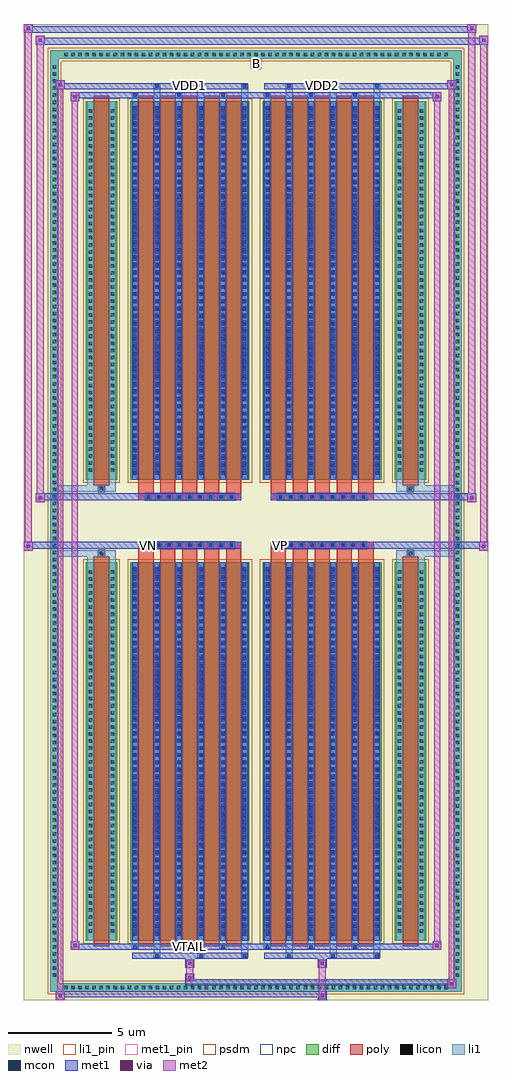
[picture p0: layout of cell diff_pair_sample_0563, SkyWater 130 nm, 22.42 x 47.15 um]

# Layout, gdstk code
import gdstk
lib = gdstk.Library(unit=1e-6, precision=5e-09)
def R(c, l, rs):  # rectangles x0, y0, x1, y1
    for r in rs: c.add(gdstk.rectangle(r[:2], r[2:], *l))
def A(c, l, x, y, w, h, nx, ny, dx, dy):  # array of equal rectangles
    R(c, l, [(x+i*dx, y+j*dy, x+i*dx+w, y+j*dy+h) for i in range(nx) for j in range(ny)])
def P(c, l, *ps):  # polygons
    for p in ps: c.add(gdstk.Polygon(p, *l))
nwell = (64, 20)
diff = (65, 20)
poly = (66, 20)
licon = (66, 44)
li1_pin = (67, 16)
li1 = (67, 20)
mcon = (67, 44)
met1_pin = (68, 16)
met1 = (68, 20)
via = (68, 44)
met2 = (69, 20)
psdm = (94, 20)
npc = (95, 20)

diff_pair_sample_0563 = lib.new_cell('diff_pair_sample_0563')
R(diff_pair_sample_0563, nwell, [(-11.21,-23.14,11.21,24.01), (-8.53,-21.33,-0.01,-0.805), (0.01,-21.33,8.53,-0.805), (-8.53,0.805,-0.01,21.33), (0.01,0.805,8.53,21.33)])
A(diff_pair_sample_0563, diff, -9.385, -22.74, 0.41, 0.41, 55, 2, 0.34, 45.07)
A(diff_pair_sample_0563, diff, -9.94, -22.135, 0.41, 0.41, 1, 130, 0, 0.34)
A(diff_pair_sample_0563, diff, 9.53, -22.135, 0.41, 0.41, 1, 130, 0, 0.34)
R(diff_pair_sample_0563, diff, [(-9.385,-22.74,9.385,-22.33), (-9.94,-22.135,-9.53,22.135), (9.53,-22.135,9.94,22.135), (-8.22,-20.285,-6.71,-1.985), (-6.07,-20.285,-0.32,-1.985), (0.32,-20.285,6.07,-1.985), (6.71,-20.285,8.22,-1.985), (-8.22,1.985,-6.71,20.285), (-6.07,1.985,-0.32,20.285), (0.32,1.985,6.07,20.285), (6.71,1.985,8.22,20.285), (-9.385,22.33,9.385,22.74)])
P(diff_pair_sample_0563, diff, [(9.94,22.74),(-9.94,22.74),(-9.94,-22.33),(-9.53,-22.33),(-9.53,22.33),(9.53,22.33),(9.53,-22.33),(-9.53,-22.33),(-9.94,-22.33),(-9.94,-22.74),(9.94,-22.74)])
A(diff_pair_sample_0563, poly, -5.68, -20.535, 0.73, 18.8, 5, 2, 1.06, 22.27)
A(diff_pair_sample_0563, poly, 0.71, -20.535, 0.73, 18.8, 5, 2, 1.06, 22.27)
A(diff_pair_sample_0563, poly, -5.68, -1.735, 0.73, 0.4, 5, 2, 1.06, 3.07)
A(diff_pair_sample_0563, poly, 0.71, -1.735, 0.73, 0.4, 5, 2, 1.06, 3.07)
A(diff_pair_sample_0563, poly, -5.36, -1.335, 0.33, 0.33, 9, 2, 0.5, 2.34)
A(diff_pair_sample_0563, poly, 1.03, -1.335, 0.33, 0.33, 9, 2, 0.5, 2.34)
R(diff_pair_sample_0563, poly, [(-7.83,-20.535,-7.1,-1.735), (7.1,-20.535,7.83,-1.735), (-7.63,-1.735,-7.3,-1.405), (-7.63,-1.735,-7.3,-1.405), (7.3,-1.735,7.63,-1.405), (7.3,-1.735,7.63,-1.405), (-5.68,-1.335,-0.71,-1.005), (0.71,-1.335,5.68,-1.005), (-5.68,1.005,-0.71,1.335), (0.71,1.005,5.68,1.335), (-7.63,1.405,-7.3,1.735), (-7.63,1.405,-7.3,1.735), (7.3,1.405,7.63,1.735), (7.3,1.405,7.63,1.735), (-7.83,1.735,-7.1,20.535), (7.1,1.735,7.83,20.535)])
A(diff_pair_sample_0563, licon, -9.265, -22.62, 0.17, 0.17, 55, 2, 0.34, 45.07)
A(diff_pair_sample_0563, licon, -9.82, -22.015, 0.17, 0.17, 1, 130, 0, 0.34)
A(diff_pair_sample_0563, licon, 9.65, -22.015, 0.17, 0.17, 1, 130, 0, 0.34)
A(diff_pair_sample_0563, licon, -8.08, -19.89, 0.17, 0.17, 1, 52, 0, 0.34)
A(diff_pair_sample_0563, licon, -7.02, -19.89, 0.17, 0.17, 1, 52, 0, 0.34)
A(diff_pair_sample_0563, licon, -5.93, -19.89, 0.17, 0.17, 6, 52, 1.06, 0.34)
A(diff_pair_sample_0563, licon, 0.46, -19.89, 0.17, 0.17, 6, 52, 1.06, 0.34)
A(diff_pair_sample_0563, licon, 6.85, -19.89, 0.17, 0.17, 1, 52, 0, 0.34)
A(diff_pair_sample_0563, licon, 7.91, -19.89, 0.17, 0.17, 1, 52, 0, 0.34)
A(diff_pair_sample_0563, licon, -5.28, -1.255, 0.17, 0.17, 9, 2, 0.5, 2.34)
A(diff_pair_sample_0563, licon, 1.11, -1.255, 0.17, 0.17, 9, 2, 0.5, 2.34)
A(diff_pair_sample_0563, licon, -8.08, 2.38, 0.17, 0.17, 1, 52, 0, 0.34)
A(diff_pair_sample_0563, licon, -7.02, 2.38, 0.17, 0.17, 1, 52, 0, 0.34)
A(diff_pair_sample_0563, licon, -5.93, 2.38, 0.17, 0.17, 6, 52, 1.06, 0.34)
A(diff_pair_sample_0563, licon, 0.46, 2.38, 0.17, 0.17, 6, 52, 1.06, 0.34)
A(diff_pair_sample_0563, licon, 6.85, 2.38, 0.17, 0.17, 1, 52, 0, 0.34)
A(diff_pair_sample_0563, licon, 7.91, 2.38, 0.17, 0.17, 1, 52, 0, 0.34)
R(diff_pair_sample_0563, licon, [(-7.55,-1.655,-7.38,-1.485), (7.38,-1.655,7.55,-1.485), (-7.55,1.485,-7.38,1.655), (7.38,1.485,7.55,1.655)])
R(diff_pair_sample_0563, li1_pin, [(-0.25,21.83,0.25,22.33)])
A(diff_pair_sample_0563, li1, -9.345, -22.7, 0.33, 0.33, 55, 2, 0.34, 45.07)
A(diff_pair_sample_0563, li1, -9.9, -22.095, 0.33, 0.33, 1, 130, 0, 0.34)
A(diff_pair_sample_0563, li1, 9.57, -22.095, 0.33, 0.33, 1, 130, 0, 0.34)
A(diff_pair_sample_0563, li1, -4.95, -21.09, 0.33, 0.805, 3, 2, 2.12, 41.375)
A(diff_pair_sample_0563, li1, -4.87, -21.09, 0.17, 0.17, 3, 2, 2.12, 42.01)
A(diff_pair_sample_0563, li1, 1.44, -21.09, 0.33, 0.805, 3, 2, 2.12, 41.375)
A(diff_pair_sample_0563, li1, 1.52, -21.09, 0.17, 0.17, 3, 2, 2.12, 42.01)
A(diff_pair_sample_0563, li1, -6.01, -20.66, 0.33, 0.375, 3, 2, 2.12, 40.945)
A(diff_pair_sample_0563, li1, -5.93, -20.66, 0.17, 0.17, 3, 2, 2.12, 41.15)
A(diff_pair_sample_0563, li1, 0.38, -20.66, 0.33, 0.375, 3, 2, 2.12, 40.945)
A(diff_pair_sample_0563, li1, 0.46, -20.66, 0.17, 0.17, 3, 2, 2.12, 41.15)
A(diff_pair_sample_0563, li1, -6.01, -20.285, 0.33, 18.3, 6, 2, 1.06, 22.27)
A(diff_pair_sample_0563, li1, 0.38, -20.285, 0.33, 18.3, 6, 2, 1.06, 22.27)
A(diff_pair_sample_0563, li1, -5.93, -20.04, 0.17, 0.17, 6, 50, 1.06, 0.36)
A(diff_pair_sample_0563, li1, -5.93, -20.04, 0.17, 17.81, 6, 2, 1.06, 22.27)
A(diff_pair_sample_0563, li1, 0.46, -20.04, 0.17, 0.17, 6, 50, 1.06, 0.36)
A(diff_pair_sample_0563, li1, 0.46, -20.04, 0.17, 17.81, 6, 2, 1.06, 22.27)
A(diff_pair_sample_0563, li1, -8.16, -19.97, 0.33, 0.33, 1, 52, 0, 0.34)
A(diff_pair_sample_0563, li1, -7.1, -19.97, 0.33, 0.33, 1, 52, 0, 0.34)
A(diff_pair_sample_0563, li1, -6.01, -19.97, 0.33, 0.33, 6, 52, 1.06, 0.34)
A(diff_pair_sample_0563, li1, 0.38, -19.97, 0.33, 0.33, 6, 52, 1.06, 0.34)
A(diff_pair_sample_0563, li1, 6.77, -19.97, 0.33, 0.33, 1, 52, 0, 0.34)
A(diff_pair_sample_0563, li1, 7.83, -19.97, 0.33, 0.33, 1, 52, 0, 0.34)
A(diff_pair_sample_0563, li1, -5.36, -1.335, 0.33, 0.33, 9, 2, 0.5, 2.34)
A(diff_pair_sample_0563, li1, 1.03, -1.335, 0.33, 0.33, 9, 2, 0.5, 2.34)
A(diff_pair_sample_0563, li1, -5.93, 2.23, 0.17, 0.17, 6, 50, 1.06, 0.36)
A(diff_pair_sample_0563, li1, 0.46, 2.23, 0.17, 0.17, 6, 50, 1.06, 0.36)
A(diff_pair_sample_0563, li1, -8.16, 2.3, 0.33, 0.33, 1, 52, 0, 0.34)
A(diff_pair_sample_0563, li1, -7.1, 2.3, 0.33, 0.33, 1, 52, 0, 0.34)
A(diff_pair_sample_0563, li1, -6.01, 2.3, 0.33, 0.33, 6, 52, 1.06, 0.34)
A(diff_pair_sample_0563, li1, 0.38, 2.3, 0.33, 0.33, 6, 52, 1.06, 0.34)
A(diff_pair_sample_0563, li1, 6.77, 2.3, 0.33, 0.33, 1, 52, 0, 0.34)
A(diff_pair_sample_0563, li1, 7.83, 2.3, 0.33, 0.33, 1, 52, 0, 0.34)
R(diff_pair_sample_0563, li1, [(-9.94,-22.74,-9.53,-22.33), (-9.94,-22.74,-9.53,-22.33), (-9.53,-22.74,9.53,-22.33), (9.53,-22.74,9.94,-22.33), (9.53,-22.74,9.94,-22.33), (-9.94,-22.33,-9.53,22.33), (9.53,-22.33,9.94,22.33), (-8.16,-20.285,-7.83,-1.985), (-7.1,-20.285,-6.77,-1.985), (6.77,-20.285,7.1,-1.985), (7.83,-20.285,8.16,-1.985), (-8.16,-1.985,-7.83,-1.405), (-7.1,-1.985,-6.77,-1.405), (6.77,-1.985,7.1,-1.405), (7.83,-1.985,8.16,-1.405), (-9.94,-1.735,-7.63,-1.405), (-8.16,-1.735,-7.63,-1.405), (-7.63,-1.735,-7.3,-1.405), (-7.3,-1.735,-6.77,-1.405), (6.77,-1.735,7.3,-1.405), (7.3,-1.735,7.63,-1.405), (7.3,-1.735,9.94,-1.405), (7.63,-1.735,8.16,-1.405), (-9.94,1.405,-7.63,1.735), (-8.16,1.405,-7.63,1.735), (-8.16,1.405,-7.83,1.985), (-7.63,1.405,-7.3,1.735), (-7.3,1.405,-6.77,1.735), (-7.1,1.405,-6.77,1.985), (6.77,1.405,7.3,1.735), (6.77,1.405,7.1,1.985), (7.3,1.405,7.63,1.735), (7.3,1.405,9.94,1.735), (7.63,1.405,8.16,1.735), (7.83,1.405,8.16,1.985), (-8.16,1.985,-7.83,20.285), (-7.1,1.985,-6.77,20.285), (6.77,1.985,7.1,20.285), (7.83,1.985,8.16,20.285), (-9.94,22.33,-9.53,22.74), (-9.94,22.33,-9.53,22.74), (-9.53,22.33,9.53,22.74), (9.53,22.33,9.94,22.74), (9.53,22.33,9.94,22.74)])
A(diff_pair_sample_0563, mcon, -4.87, -21.09, 0.17, 0.17, 3, 2, 2.12, 42.01)
A(diff_pair_sample_0563, mcon, 1.52, -21.09, 0.17, 0.17, 3, 2, 2.12, 42.01)
A(diff_pair_sample_0563, mcon, -5.93, -20.66, 0.17, 0.17, 3, 2, 2.12, 41.15)
A(diff_pair_sample_0563, mcon, 0.46, -20.66, 0.17, 0.17, 3, 2, 2.12, 41.15)
A(diff_pair_sample_0563, mcon, -5.93, -20.04, 0.17, 0.17, 6, 50, 1.06, 0.36)
A(diff_pair_sample_0563, mcon, 0.46, -20.04, 0.17, 0.17, 6, 50, 1.06, 0.36)
A(diff_pair_sample_0563, mcon, -5.28, -1.255, 0.17, 0.17, 9, 2, 0.5, 2.34)
A(diff_pair_sample_0563, mcon, 1.11, -1.255, 0.17, 0.17, 9, 2, 0.5, 2.34)
A(diff_pair_sample_0563, mcon, -5.93, 2.23, 0.17, 0.17, 6, 50, 1.06, 0.36)
A(diff_pair_sample_0563, mcon, 0.46, 2.23, 0.17, 0.17, 6, 50, 1.06, 0.36)
R(diff_pair_sample_0563, met1_pin, [(-3.33,-20.7,-3.06,-20.43), (-5.33,-1.295,-5.06,-1.025), (1.06,-1.295,1.33,-1.025), (-3.33,20.88,-3.06,21.15), (3.06,20.88,3.33,21.15)])
A(diff_pair_sample_0563, met1, -4.93, -21.15, 0.29, 0.29, 3, 2, 2.12, 42.01)
A(diff_pair_sample_0563, met1, 1.46, -21.15, 0.29, 0.29, 3, 2, 2.12, 42.01)
A(diff_pair_sample_0563, met1, -5.99, -20.72, 0.29, 0.29, 3, 2, 2.12, 41.15)
A(diff_pair_sample_0563, met1, 0.4, -20.72, 0.29, 0.29, 3, 2, 2.12, 41.15)
A(diff_pair_sample_0563, met1, -5.99, -20.285, 0.29, 18.3, 6, 2, 1.06, 22.27)
A(diff_pair_sample_0563, met1, 0.4, -20.285, 0.29, 18.3, 6, 2, 1.06, 22.27)
A(diff_pair_sample_0563, met1, -5.99, -20.1, 0.29, 0.29, 6, 50, 1.06, 0.36)
A(diff_pair_sample_0563, met1, 0.4, -20.1, 0.29, 0.29, 6, 50, 1.06, 0.36)
A(diff_pair_sample_0563, met1, -5.34, -1.315, 0.29, 0.29, 9, 2, 0.5, 2.34)
A(diff_pair_sample_0563, met1, 1.05, -1.315, 0.29, 0.29, 9, 2, 0.5, 2.34)
A(diff_pair_sample_0563, met1, -5.99, 2.17, 0.29, 0.29, 6, 50, 1.06, 0.36)
A(diff_pair_sample_0563, met1, 0.4, 2.17, 0.29, 0.29, 6, 50, 1.06, 0.36)
R(diff_pair_sample_0563, met1, [(-9.67,-23.14,-9.24,-22.71), (2.98,-23.14,3.41,-22.71), (-9.67,-23,3.41,-22.71), (9.24,-22.57,9.67,-22.14), (-3.41,-22.43,9.67,-22.14), (-3.41,-22.29,-2.98,-21.86), (-3.41,-21.58,-2.98,-21.15), (2.98,-21.58,3.41,-21.15), (-5.99,-21.15,-0.4,-20.86), (0.4,-21.15,5.99,-20.86), (-8.96,-20.72,-8.53,-20.29), (-8.96,-20.72,-5.99,-20.43), (-5.99,-20.72,-0.4,-20.43), (-0.4,-20.72,0.4,-20.43), (0.4,-20.72,5.99,-20.43), (5.99,-20.72,8.96,-20.43), (8.53,-20.72,8.96,-20.29), (-11.21,-1.435,-10.78,-1.005), (10.78,-1.435,11.21,-1.005), (-11.21,-1.335,-0.71,-1.005), (-5.68,-1.335,-0.71,-1.005), (0.71,-1.335,5.68,-1.005), (0.71,-1.335,11.21,-1.005), (-10.64,0.905,-10.21,1.335), (10.21,0.905,10.64,1.335), (-10.64,1.005,-5.68,1.335), (-5.68,1.005,-0.71,1.335), (0.71,1.005,5.68,1.335), (5.68,1.005,10.64,1.335), (-8.96,20.29,-8.53,20.72), (8.53,20.29,8.96,20.72), (-8.96,20.43,-5.99,20.72), (-5.99,20.43,-0.4,20.72), (-0.4,20.43,0.4,20.72), (0.4,20.43,5.99,20.72), (5.99,20.43,8.96,20.72), (-9.67,20.86,-9.24,21.29), (-9.67,20.86,-5.99,21.15), (-5.99,20.86,-0.4,21.15), (0.4,20.86,5.99,21.15), (5.99,20.86,9.67,21.15), (9.24,20.86,9.67,21.29), (-10.64,23.01,-10.21,23.44), (-10.64,23.01,-8.53,23.34), (-8.53,23.01,8.53,23.34), (8.53,23.01,11.21,23.34), (10.78,23.01,11.21,23.44), (-11.21,23.58,-10.78,24.01), (-11.21,23.58,-8.53,23.91), (-8.53,23.58,8.53,23.91), (8.53,23.58,10.64,23.91), (10.21,23.58,10.64,24.01)])
R(diff_pair_sample_0563, via, [(-9.53,-23,-9.38,-22.85), (3.12,-23,3.27,-22.85), (9.38,-22.43,9.53,-22.28), (-3.27,-22.15,-3.12,-22), (-3.27,-21.44,-3.12,-21.29), (3.12,-21.44,3.27,-21.29), (-8.82,-20.58,-8.67,-20.43), (8.67,-20.58,8.82,-20.43), (-11.07,-1.295,-10.92,-1.145), (10.92,-1.295,11.07,-1.145), (-10.5,1.045,-10.35,1.195), (10.35,1.045,10.5,1.195), (-8.82,20.43,-8.67,20.58), (8.67,20.43,8.82,20.58), (-9.53,21,-9.38,21.15), (9.38,21,9.53,21.15), (-10.5,23.15,-10.35,23.3), (10.92,23.15,11.07,23.3), (-11.07,23.72,-10.92,23.87), (10.35,23.72,10.5,23.87)])
R(diff_pair_sample_0563, met2, [(-9.67,-23.14,-9.24,-22.71), (-9.6,-23.14,-9.31,21.29), (-9.31,-23.14,-9.24,-22.71), (-9.62,-23.09,-9.29,-22.76), (3.03,-23.09,3.36,-22.76), (3.03,-22.76,3.36,-21.53), (9.24,-22.57,9.67,-22.14), (9.31,-22.57,9.6,21.29), (9.6,-22.57,9.67,-22.14), (9.29,-22.52,9.62,-22.19), (-3.36,-22.24,-3.03,-21.91), (-3.36,-21.91,-3.03,-21.53), (-3.36,-21.53,-3.03,-21.2), (3.03,-21.53,3.36,-21.2), (-8.96,-20.72,-8.53,-20.29), (-8.89,-20.72,-8.6,20.72), (-8.6,-20.72,-8.53,-20.29), (8.53,-20.72,8.96,-20.29), (8.6,-20.72,8.89,20.72), (8.89,-20.72,8.96,-20.29), (-8.91,-20.67,-8.58,-20.34), (8.58,-20.67,8.91,-20.34), (-11.21,-1.435,-10.78,-1.005), (-11.16,-1.435,-10.83,24.01), (-10.83,-1.435,-10.78,-1.005), (10.78,-1.435,11.21,-1.005), (10.83,-1.435,11.16,23.44), (11.16,-1.435,11.21,-1.005), (-11.16,-1.385,-10.83,-1.055), (10.83,-1.385,11.16,-1.055), (-10.64,0.905,-10.21,1.335), (-10.59,0.905,-10.26,23.44), (-10.26,0.905,-10.21,1.335), (10.21,0.905,10.64,1.335), (10.26,0.905,10.59,24.01), (10.59,0.905,10.64,1.335), (-10.59,0.955,-10.26,1.285), (10.26,0.955,10.59,1.285), (-8.96,20.29,-8.53,20.72), (-8.6,20.29,-8.53,20.72), (8.53,20.29,8.96,20.72), (8.89,20.29,8.96,20.72), (-8.91,20.34,-8.58,20.67), (8.58,20.34,8.91,20.67), (-9.67,20.86,-9.24,21.29), (-9.31,20.86,-9.24,21.29), (9.24,20.86,9.67,21.29), (9.6,20.86,9.67,21.29), (-9.62,20.91,-9.29,21.24), (9.29,20.91,9.62,21.24), (-10.64,23.01,-10.21,23.44), (-10.26,23.01,-10.21,23.44), (10.78,23.01,11.21,23.44), (11.16,23.01,11.21,23.44), (-10.59,23.06,-10.26,23.39), (10.83,23.06,11.16,23.39), (-11.21,23.58,-10.78,24.01), (-10.83,23.58,-10.78,24.01), (10.21,23.58,10.64,24.01), (10.59,23.58,10.64,24.01), (-11.16,23.63,-10.83,23.96), (10.26,23.63,10.59,23.96)])
R(diff_pair_sample_0563, psdm, [(-8.35,-20.415,-6.58,-1.855), (-6.2,-20.415,-0.19,-1.855), (0.19,-20.415,6.2,-1.855), (6.58,-20.415,8.35,-1.855), (-8.35,1.855,-6.58,20.415), (-6.2,1.855,-0.19,20.415), (0.19,1.855,6.2,20.415), (6.58,1.855,8.35,20.415)])
P(diff_pair_sample_0563, psdm, [(10.07,22.87),(-10.07,22.87),(-10.07,-22.2),(-9.4,-22.2),(-9.4,22.2),(9.4,22.2),(9.4,-22.2),(-9.4,-22.2),(-10.07,-22.2),(-10.07,-22.87),(10.07,-22.87)])
A(diff_pair_sample_0563, npc, -5.38, -1.355, 0.37, 0.37, 9, 2, 0.5, 2.34)
A(diff_pair_sample_0563, npc, 1.01, -1.355, 0.37, 0.37, 9, 2, 0.5, 2.34)
R(diff_pair_sample_0563, npc, [(-7.65,-1.755,-7.28,-1.385), (7.28,-1.755,7.65,-1.385), (-5.38,-1.355,-4.51,-0.985), (-5.38,-1.355,-4.51,-0.985), (-4.88,-1.355,-4.01,-0.985), (-4.88,-1.355,-4.01,-0.985), (-4.38,-1.355,-3.51,-0.985), (-4.38,-1.355,-3.51,-0.985), (-3.88,-1.355,-3.01,-0.985), (-3.88,-1.355,-3.01,-0.985), (-3.38,-1.355,-2.51,-0.985), (-3.38,-1.355,-2.51,-0.985), (-2.88,-1.355,-2.01,-0.985), (-2.88,-1.355,-2.01,-0.985), (-2.38,-1.355,-1.51,-0.985), (-2.38,-1.355,-1.51,-0.985), (-1.88,-1.355,-1.01,-0.985), (-1.88,-1.355,-1.01,-0.985), (1.01,-1.355,1.88,-0.985), (1.01,-1.355,1.88,-0.985), (1.51,-1.355,2.38,-0.985), (1.51,-1.355,2.38,-0.985), (2.01,-1.355,2.88,-0.985), (2.01,-1.355,2.88,-0.985), (2.51,-1.355,3.38,-0.985), (2.51,-1.355,3.38,-0.985), (3.01,-1.355,3.88,-0.985), (3.01,-1.355,3.88,-0.985), (3.51,-1.355,4.38,-0.985), (3.51,-1.355,4.38,-0.985), (4.01,-1.355,4.88,-0.985), (4.01,-1.355,4.88,-0.985), (4.51,-1.355,5.38,-0.985), (4.51,-1.355,5.38,-0.985), (-5.38,0.985,-4.51,1.355), (-5.38,0.985,-4.51,1.355), (-4.88,0.985,-4.01,1.355), (-4.88,0.985,-4.01,1.355), (-4.38,0.985,-3.51,1.355), (-4.38,0.985,-3.51,1.355), (-3.88,0.985,-3.01,1.355), (-3.88,0.985,-3.01,1.355), (-3.38,0.985,-2.51,1.355), (-3.38,0.985,-2.51,1.355), (-2.88,0.985,-2.01,1.355), (-2.88,0.985,-2.01,1.355), (-2.38,0.985,-1.51,1.355), (-2.38,0.985,-1.51,1.355), (-1.88,0.985,-1.01,1.355), (-1.88,0.985,-1.01,1.355), (1.01,0.985,1.88,1.355), (1.01,0.985,1.88,1.355), (1.51,0.985,2.38,1.355), (1.51,0.985,2.38,1.355), (2.01,0.985,2.88,1.355), (2.01,0.985,2.88,1.355), (2.51,0.985,3.38,1.355), (2.51,0.985,3.38,1.355), (3.01,0.985,3.88,1.355), (3.01,0.985,3.88,1.355), (3.51,0.985,4.38,1.355), (3.51,0.985,4.38,1.355), (4.01,0.985,4.88,1.355), (4.01,0.985,4.88,1.355), (4.51,0.985,5.38,1.355), (4.51,0.985,5.38,1.355), (-7.65,1.385,-7.28,1.755), (7.28,1.385,7.65,1.755)])
diff_pair_sample_0563.add(gdstk.Label('VTAIL', (-3.195,-20.565), layer=68, texttype=5))
diff_pair_sample_0563.add(gdstk.Label('VN', (-5.195,-1.16), layer=68, texttype=5))
diff_pair_sample_0563.add(gdstk.Label('VP', (1.195,-1.16), layer=68, texttype=5))
diff_pair_sample_0563.add(gdstk.Label('B', (0,22.08), layer=67, texttype=5))
diff_pair_sample_0563.add(gdstk.Label('VDD2', (3.195,21.015), layer=68, texttype=5))
diff_pair_sample_0563.add(gdstk.Label('VDD1', (-3.195,21.015), layer=68, texttype=5))

lib.write_gds('diff_pair_sample_0563.gds')
